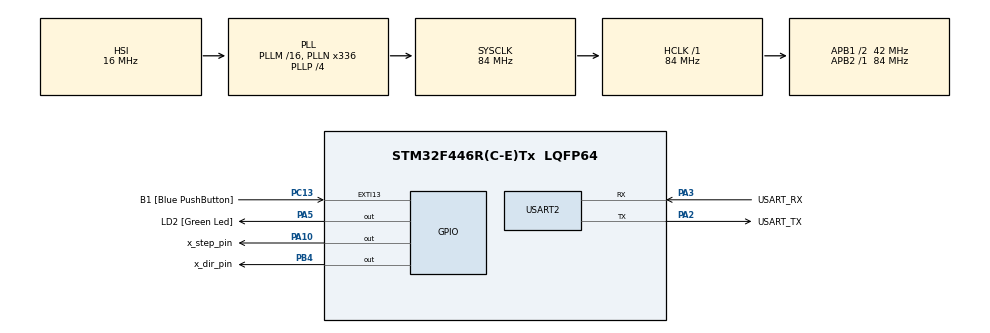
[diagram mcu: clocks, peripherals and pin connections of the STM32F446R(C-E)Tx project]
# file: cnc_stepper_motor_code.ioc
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Mcu.Family=STM32F4
Mcu.Name=STM32F446R(C-E)Tx
Mcu.Package=LQFP64
NVIC.PriorityGroup=NVIC_PRIORITYGROUP_0
PA10.GPIO_Label=x_step_pin
PA10.Signal=GPIO_Output
PA13.GPIO_Label=TMS
PA13.Mode=Serial_Wire
PA13.Signal=SYS_JTMS-SWDIO
PA14.GPIO_Label=TCK
PA14.Mode=Serial_Wire
PA14.Signal=SYS_JTCK-SWCLK
PA2.GPIO_Label=USART_TX
PA2.Mode=Asynchronous
PA2.Signal=USART2_TX
PA3.GPIO_Label=USART_RX
PA3.Mode=Asynchronous
PA3.Signal=USART2_RX
PA5.GPIO_Label=LD2 [Green Led]
PA5.Signal=GPIO_Output
PB3.GPIO_Label=SWO
PB3.Signal=SYS_JTDO-SWO
PB4.GPIO_Label=x_dir_pin
PB4.Signal=GPIO_Output
PC13.GPIO_Label=B1 [Blue PushButton]
PC13.GPIO_ModeDefaultEXTI=GPIO_MODE_IT_FALLING
PC13.Signal=GPXTI13
PC14-OSC32_IN.Mode=LSE-External-Oscillator
PC14-OSC32_IN.Signal=RCC_OSC32_IN
PC15-OSC32_OUT.Mode=LSE-External-Oscillator
PC15-OSC32_OUT.Signal=RCC_OSC32_OUT
PH0-OSC_IN.Mode=HSE-External-Oscillator
PH0-OSC_IN.Signal=RCC_OSC_IN
PH1-OSC_OUT.Mode=HSE-External-Oscillator
PH1-OSC_OUT.Signal=RCC_OSC_OUT
ProjectManager.HeapSize=0x200
ProjectManager.StackSize=0x400
ProjectManager.TargetToolchain=STM32CubeIDE
RCC.48MHZClocksFreq_Value=84000000
RCC.AHBFreq_Value=84000000
RCC.APB1CLKDivider=RCC_HCLK_DIV2
RCC.APB1Freq_Value=42000000
RCC.APB1TimFreq_Value=84000000
RCC.APB2Freq_Value=84000000
RCC.APB2TimFreq_Value=84000000
RCC.CortexFreq_Value=84000000
RCC.FLatency-AdvancedSettings=FLASH_LATENCY_2
RCC.HCLKFreq_Value=84000000
RCC.HSE_VALUE=8000000
RCC.HSI_VALUE=16000000
RCC.PLLN=336
RCC.PLLP=RCC_PLLP_DIV4
RCC.SYSCLKFreq_VALUE=84000000
RCC.SYSCLKSource=RCC_SYSCLKSOURCE_PLLCLK
RCC.USBFreq_Value=168000000
RCC.VCOOutputFreq_Value=336000000
USART2.VirtualMode=VM_ASYNC
board=NUCLEO-F446RE

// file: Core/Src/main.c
/* USER CODE BEGIN Header */
/**
  ******************************************************************************
  * @file           : main.c
  * @brief          : Main program body
  ******************************************************************************
  * @attention
  *
  * Copyright (c) 2023 STMicroelectronics.
  * All rights reserved.
  *
  * This software is licensed under terms that can be found in the LICENSE file
  * in the root directory of this software component.
  * If no LICENSE file comes with this software, it is provided AS-IS.
  *
  ******************************************************************************
  */
/* USER CODE END Header */
#include "main.h"

UART_HandleTypeDef huart2;

void SystemClock_Config(void);
static void MX_GPIO_Init(void);
static void MX_USART2_UART_Init(void);

/* USER CODE BEGIN 0 */
void cnc_forward(void);
void cnc_reverse(void);
void cnc_work(void);
/* USER CODE END 0 */

int main(void)
{

  /* MCU Configuration--------------------------------------------------------*/

  /* Reset of all peripherals, Initializes the Flash interface and the Systick. */
  HAL_Init();

  /* Configure the system clock */
  SystemClock_Config();

  /* Initialize all configured peripherals */
  MX_GPIO_Init();
  MX_USART2_UART_Init();

  /* Infinite loop */
  while (1)
  {
	  cnc_work();
  }
}

void SystemClock_Config(void)
{
  RCC_OscInitTypeDef RCC_OscInitStruct = {0};
  RCC_ClkInitTypeDef RCC_ClkInitStruct = {0};

  /** Configure the main internal regulator output voltage
  */
  __HAL_RCC_PWR_CLK_ENABLE();
  __HAL_PWR_VOLTAGESCALING_CONFIG(PWR_REGULATOR_VOLTAGE_SCALE3);

  /** Initializes the RCC Oscillators according to the specified parameters
  * in the RCC_OscInitTypeDef structure.
  */
  RCC_OscInitStruct.OscillatorType = RCC_OSCILLATORTYPE_HSI;
  RCC_OscInitStruct.HSIState = RCC_HSI_ON;
  RCC_OscInitStruct.HSICalibrationValue = RCC_HSICALIBRATION_DEFAULT;
  RCC_OscInitStruct.PLL.PLLState = RCC_PLL_ON;
  RCC_OscInitStruct.PLL.PLLSource = RCC_PLLSOURCE_HSI;
  RCC_OscInitStruct.PLL.PLLM = 16;
  RCC_OscInitStruct.PLL.PLLN = 336;
  RCC_OscInitStruct.PLL.PLLP = RCC_PLLP_DIV4;
  RCC_OscInitStruct.PLL.PLLQ = 2;
  RCC_OscInitStruct.PLL.PLLR = 2;
  if (HAL_RCC_OscConfig(&RCC_OscInitStruct) != HAL_OK)
  {
    Error_Handler();
  }

  /** Initializes the CPU, AHB and APB buses clocks
  */
  RCC_ClkInitStruct.ClockType = RCC_CLOCKTYPE_HCLK|RCC_CLOCKTYPE_SYSCLK
                              |RCC_CLOCKTYPE_PCLK1|RCC_CLOCKTYPE_PCLK2;
  RCC_ClkInitStruct.SYSCLKSource = RCC_SYSCLKSOURCE_PLLCLK;
  RCC_ClkInitStruct.AHBCLKDivider = RCC_SYSCLK_DIV1;
  RCC_ClkInitStruct.APB1CLKDivider = RCC_HCLK_DIV2;
  RCC_ClkInitStruct.APB2CLKDivider = RCC_HCLK_DIV1;

  if (HAL_RCC_ClockConfig(&RCC_ClkInitStruct, FLASH_LATENCY_2) != HAL_OK)
  {
    Error_Handler();
  }
}

static void MX_USART2_UART_Init(void)
{

  huart2.Instance = USART2;
  huart2.Init.BaudRate = 115200;
  huart2.Init.WordLength = UART_WORDLENGTH_8B;
  huart2.Init.StopBits = UART_STOPBITS_1;
  huart2.Init.Parity = UART_PARITY_NONE;
  huart2.Init.Mode = UART_MODE_TX_RX;
  huart2.Init.HwFlowCtl = UART_HWCONTROL_NONE;
  huart2.Init.OverSampling = UART_OVERSAMPLING_16;
  if (HAL_UART_Init(&huart2) != HAL_OK)
  {
    Error_Handler();
  }

}

static void MX_GPIO_Init(void)
{
  GPIO_InitTypeDef GPIO_InitStruct = {0};

  /* GPIO Ports Clock Enable */
  __HAL_RCC_GPIOC_CLK_ENABLE();
  __HAL_RCC_GPIOH_CLK_ENABLE();
  __HAL_RCC_GPIOA_CLK_ENABLE();
  __HAL_RCC_GPIOB_CLK_ENABLE();

  /*Configure GPIO pin Output Level */
  HAL_GPIO_WritePin(GPIOA, LD2_Pin|x_step_pin_Pin, GPIO_PIN_RESET);

  /*Configure GPIO pin Output Level */
  HAL_GPIO_WritePin(x_dir_pin_GPIO_Port, x_dir_pin_Pin, GPIO_PIN_RESET);

  /*Configure GPIO pin : B1_Pin */
  GPIO_InitStruct.Pin = B1_Pin;
  GPIO_InitStruct.Mode = GPIO_MODE_IT_FALLING;
  GPIO_InitStruct.Pull = GPIO_NOPULL;
  HAL_GPIO_Init(B1_GPIO_Port, &GPIO_InitStruct);

  /*Configure GPIO pins : LD2_Pin x_step_pin_Pin */
  GPIO_InitStruct.Pin = LD2_Pin|x_step_pin_Pin;
  GPIO_InitStruct.Mode = GPIO_MODE_OUTPUT_PP;
  GPIO_InitStruct.Pull = GPIO_NOPULL;
  GPIO_InitStruct.Speed = GPIO_SPEED_FREQ_LOW;
  HAL_GPIO_Init(GPIOA, &GPIO_InitStruct);

  /*Configure GPIO pin : x_dir_pin_Pin */
  GPIO_InitStruct.Pin = x_dir_pin_Pin;
  GPIO_InitStruct.Mode = GPIO_MODE_OUTPUT_PP;
  GPIO_InitStruct.Pull = GPIO_NOPULL;
  GPIO_InitStruct.Speed = GPIO_SPEED_FREQ_LOW;
  HAL_GPIO_Init(x_dir_pin_GPIO_Port, &GPIO_InitStruct);

}

/* USER CODE BEGIN 4 */
void cnc_work(){

	cnc_forward();
	HAL_Delay(1000);
	cnc_reverse();
	HAL_Delay(1000);

}
void cnc_forward(){

    HAL_GPIO_WritePin(x_dir_pin_GPIO_Port, x_dir_pin_Pin, 1);
	for (int x = 0; x < 200; x++) {
		HAL_GPIO_WritePin(x_step_pin_GPIO_Port, x_step_pin_Pin, 1);
		HAL_Delay(0.5);
		HAL_GPIO_WritePin(x_step_pin_GPIO_Port, x_step_pin_Pin, 0);
		HAL_Delay(0.5);

	}

}
void cnc_reverse(){

    HAL_GPIO_WritePin(x_dir_pin_GPIO_Port, x_dir_pin_Pin, 0);
	for (int x = 0; x < 200; x++) {
		HAL_GPIO_WritePin(x_step_pin_GPIO_Port, x_step_pin_Pin, 1);
		HAL_Delay(500);
		HAL_GPIO_WritePin(x_step_pin_GPIO_Port, x_step_pin_Pin, 0);
		HAL_Delay(500);

	}

}
/* USER CODE END 4 */

void Error_Handler(void)
{
  __disable_irq();
  while (1)
  {
  }
}
